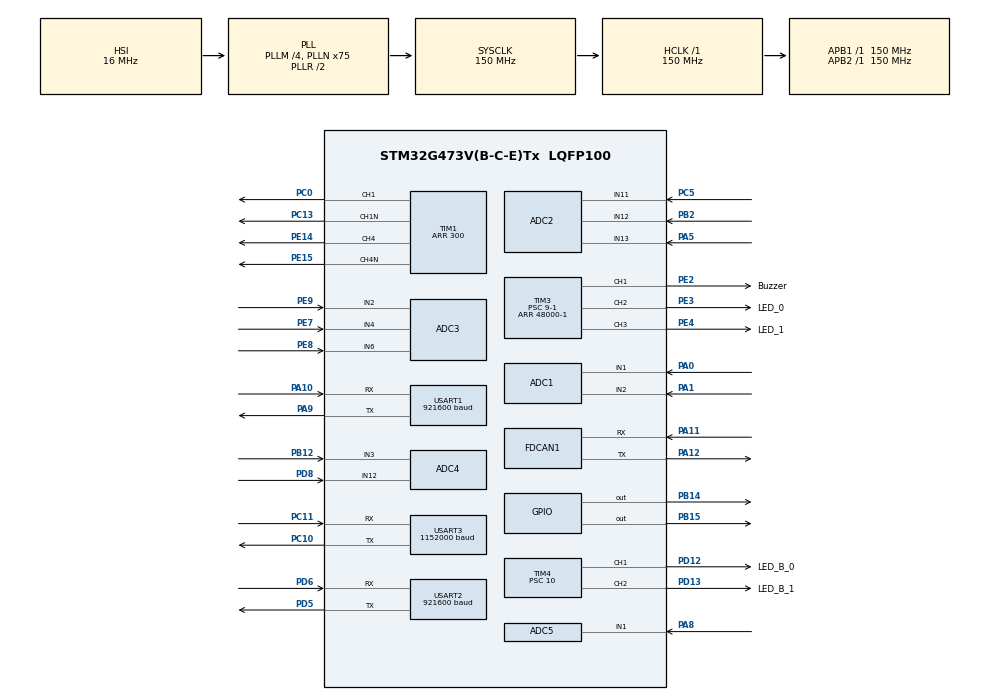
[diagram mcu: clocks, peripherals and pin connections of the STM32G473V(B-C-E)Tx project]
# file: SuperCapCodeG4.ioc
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ADC1.Channel-1\#ChannelRegularConversion=ADC_CHANNEL_1
ADC1.Channel-2\#ChannelRegularConversion=ADC_CHANNEL_2
ADC1.ClockPrescaler=ADC_CLOCK_ASYNC_DIV4
ADC1.ContinuousConvMode=ENABLE
ADC1.DMAContinuousRequests=ENABLE
ADC1.EOCSelection=ADC_EOC_SINGLE_CONV
ADC1.NbrOfConversion=2
ADC1.NbrOfConversionFlag=1
ADC1.OffsetNumber-1\#ChannelRegularConversion=ADC_OFFSET_NONE
ADC1.OffsetNumber-2\#ChannelRegularConversion=ADC_OFFSET_NONE
ADC1.OversamplingMode=DISABLE
ADC1.Rank-1\#ChannelRegularConversion=1
ADC1.Rank-2\#ChannelRegularConversion=2
ADC1.SamplingTime-1\#ChannelRegularConversion=ADC_SAMPLETIME_12CYCLES_5
ADC1.SamplingTime-2\#ChannelRegularConversion=ADC_SAMPLETIME_12CYCLES_5
ADC1.master=1
ADC2.Channel-0\#ChannelRegularConversion=ADC_CHANNEL_11
ADC2.Channel-1\#ChannelRegularConversion=ADC_CHANNEL_13
ADC2.Channel-2\#ChannelRegularConversion=ADC_CHANNEL_12
ADC2.ClockPrescaler=ADC_CLOCK_ASYNC_DIV4
ADC2.ContinuousConvMode=ENABLE
ADC2.DMAContinuousRequests=ENABLE
ADC2.NbrOfConversion=3
ADC2.NbrOfConversionFlag=1
ADC2.OffsetNumber-0\#ChannelRegularConversion=ADC_OFFSET_NONE
ADC2.OffsetNumber-1\#ChannelRegularConversion=ADC_OFFSET_NONE
ADC2.OffsetNumber-2\#ChannelRegularConversion=ADC_OFFSET_NONE
ADC2.Rank-0\#ChannelRegularConversion=1
ADC2.Rank-1\#ChannelRegularConversion=2
ADC2.Rank-2\#ChannelRegularConversion=3
ADC2.SamplingTime-0\#ChannelRegularConversion=ADC_SAMPLETIME_12CYCLES_5
ADC2.SamplingTime-1\#ChannelRegularConversion=ADC_SAMPLETIME_12CYCLES_5
ADC2.SamplingTime-2\#ChannelRegularConversion=ADC_SAMPLETIME_12CYCLES_5
ADC3.Channel-0\#ChannelRegularConversion=ADC_CHANNEL_4
ADC3.Channel-1\#ChannelRegularConversion=ADC_CHANNEL_6
ADC3.Channel-2\#ChannelRegularConversion=ADC_CHANNEL_2
ADC3.ClockPrescaler=ADC_CLOCK_ASYNC_DIV4
ADC3.ContinuousConvMode=ENABLE
ADC3.DMAContinuousRequests=ENABLE
ADC3.NbrOfConversion=3
ADC3.NbrOfConversionFlag=1
ADC3.OffsetNumber-0\#ChannelRegularConversion=ADC_OFFSET_NONE
ADC3.OffsetNumber-1\#ChannelRegularConversion=ADC_OFFSET_NONE
ADC3.OffsetNumber-2\#ChannelRegularConversion=ADC_OFFSET_NONE
ADC3.Rank-0\#ChannelRegularConversion=1
ADC3.Rank-1\#ChannelRegularConversion=2
ADC3.Rank-2\#ChannelRegularConversion=3
ADC3.SamplingTime-0\#ChannelRegularConversion=ADC_SAMPLETIME_6CYCLES_5
ADC3.SamplingTime-1\#ChannelRegularConversion=ADC_SAMPLETIME_6CYCLES_5
ADC3.SamplingTime-2\#ChannelRegularConversion=ADC_SAMPLETIME_6CYCLES_5
ADC3.master=1
ADC4.Channel-0\#ChannelRegularConversion=ADC_CHANNEL_3
ADC4.Channel-1\#ChannelRegularConversion=ADC_CHANNEL_12
ADC4.ClockPrescaler=ADC_CLOCK_ASYNC_DIV4
ADC4.ContinuousConvMode=ENABLE
ADC4.DMAContinuousRequests=ENABLE
ADC4.NbrOfConversion=2
ADC4.NbrOfConversionFlag=1
ADC4.OffsetNumber-0\#ChannelRegularConversion=ADC_OFFSET_NONE
ADC4.OffsetNumber-1\#ChannelRegularConversion=ADC_OFFSET_NONE
ADC4.Rank-0\#ChannelRegularConversion=1
ADC4.Rank-1\#ChannelRegularConversion=2
ADC4.SamplingTime-0\#ChannelRegularConversion=ADC_SAMPLETIME_12CYCLES_5
ADC4.SamplingTime-1\#ChannelRegularConversion=ADC_SAMPLETIME_12CYCLES_5
ADC5.Channel-1\#ChannelRegularConversion=ADC_CHANNEL_1
ADC5.ClockPrescaler=ADC_CLOCK_ASYNC_DIV4
ADC5.NbrOfConversionFlag=1
ADC5.OffsetNumber-1\#ChannelRegularConversion=ADC_OFFSET_NONE
ADC5.Rank-1\#ChannelRegularConversion=1
ADC5.SamplingTime-1\#ChannelRegularConversion=ADC_SAMPLETIME_12CYCLES_5
Dma.ADC1.1.Direction=DMA_PERIPH_TO_MEMORY
Dma.ADC1.1.EventEnable=DISABLE
Dma.ADC1.1.Instance=DMA2_Channel1
Dma.ADC1.1.MemDataAlignment=DMA_MDATAALIGN_HALFWORD
Dma.ADC1.1.MemInc=DMA_MINC_ENABLE
Dma.ADC1.1.Mode=DMA_CIRCULAR
Dma.ADC1.1.PeriphDataAlignment=DMA_PDATAALIGN_HALFWORD
Dma.ADC1.1.PeriphInc=DMA_PINC_DISABLE
Dma.ADC1.1.Polarity=HAL_DMAMUX_REQ_GEN_RISING
Dma.ADC1.1.Priority=DMA_PRIORITY_LOW
Dma.ADC1.1.RequestNumber=1
Dma.ADC1.1.SignalID=NONE
Dma.ADC1.1.SyncEnable=DISABLE
Dma.ADC1.1.SyncPolarity=HAL_DMAMUX_SYNC_NO_EVENT
Dma.ADC1.1.SyncRequestNumber=1
Dma.ADC1.1.SyncSignalID=NONE
Dma.ADC2.0.Direction=DMA_PERIPH_TO_MEMORY
Dma.ADC2.0.EventEnable=DISABLE
Dma.ADC2.0.Instance=DMA1_Channel1
Dma.ADC2.0.MemDataAlignment=DMA_MDATAALIGN_HALFWORD
Dma.ADC2.0.MemInc=DMA_MINC_ENABLE
Dma.ADC2.0.Mode=DMA_CIRCULAR
Dma.ADC2.0.PeriphDataAlignment=DMA_PDATAALIGN_HALFWORD
Dma.ADC2.0.PeriphInc=DMA_PINC_DISABLE
Dma.ADC2.0.Polarity=HAL_DMAMUX_REQ_GEN_RISING
Dma.ADC2.0.Priority=DMA_PRIORITY_LOW
Dma.ADC2.0.RequestNumber=1
Dma.ADC2.0.SignalID=NONE
Dma.ADC2.0.SyncEnable=DISABLE
Dma.ADC2.0.SyncPolarity=HAL_DMAMUX_SYNC_NO_EVENT
Dma.ADC2.0.SyncRequestNumber=1
Dma.ADC2.0.SyncSignalID=NONE
Dma.ADC3.2.Direction=DMA_PERIPH_TO_MEMORY
Dma.ADC3.2.EventEnable=DISABLE
Dma.ADC3.2.Instance=DMA1_Channel2
Dma.ADC3.2.MemDataAlignment=DMA_MDATAALIGN_HALFWORD
Dma.ADC3.2.MemInc=DMA_MINC_ENABLE
Dma.ADC3.2.Mode=DMA_CIRCULAR
Dma.ADC3.2.PeriphDataAlignment=DMA_PDATAALIGN_HALFWORD
Dma.ADC3.2.PeriphInc=DMA_PINC_DISABLE
Dma.ADC3.2.Polarity=HAL_DMAMUX_REQ_GEN_RISING
Dma.ADC3.2.Priority=DMA_PRIORITY_LOW
Dma.ADC3.2.RequestNumber=1
Dma.ADC3.2.SignalID=NONE
Dma.ADC3.2.SyncEnable=DISABLE
Dma.ADC3.2.SyncPolarity=HAL_DMAMUX_SYNC_NO_EVENT
Dma.ADC3.2.SyncRequestNumber=1
Dma.ADC3.2.SyncSignalID=NONE
Dma.ADC4.3.Direction=DMA_PERIPH_TO_MEMORY
Dma.ADC4.3.EventEnable=DISABLE
Dma.ADC4.3.Instance=DMA1_Channel3
Dma.ADC4.3.MemDataAlignment=DMA_MDATAALIGN_HALFWORD
Dma.ADC4.3.MemInc=DMA_MINC_ENABLE
Dma.ADC4.3.Mode=DMA_CIRCULAR
Dma.ADC4.3.PeriphDataAlignment=DMA_PDATAALIGN_HALFWORD
Dma.ADC4.3.PeriphInc=DMA_PINC_DISABLE
Dma.ADC4.3.Polarity=HAL_DMAMUX_REQ_GEN_RISING
Dma.ADC4.3.Priority=DMA_PRIORITY_LOW
Dma.ADC4.3.RequestNumber=1
Dma.ADC4.3.SignalID=NONE
Dma.ADC4.3.SyncEnable=DISABLE
Dma.ADC4.3.SyncPolarity=HAL_DMAMUX_SYNC_NO_EVENT
Dma.ADC4.3.SyncRequestNumber=1
Dma.ADC4.3.SyncSignalID=NONE
Dma.Request0=ADC2
Dma.Request1=ADC1
Dma.Request2=ADC3
Dma.Request3=ADC4
FDCAN1.CalculateBaudRateNominal=1000000
FDCAN1.CalculateTimeBitNominal=1000
FDCAN1.CalculateTimeQuantumNominal=100.0
FDCAN1.ClockDivider=FDCAN_CLOCK_DIV1
FDCAN1.NominalPrescaler=15
FDCAN1.NominalTimeSeg1=5
FDCAN1.NominalTimeSeg2=4
Mcu.Family=STM32G4
Mcu.Name=STM32G473V(B-C-E)Tx
Mcu.Package=LQFP100
NVIC.PriorityGroup=NVIC_PRIORITYGROUP_4
NVIC.TIM2_IRQn=true\:0\:0\:false\:false\:true\:true\:true\:true
NVIC.TIM5_IRQn=true\:0\:0\:false\:false\:true\:true\:true\:true
PA0.Mode=IN1-Single-Ended
PA0.Signal=ADC1_IN1
PA1.Mode=IN2-Single-Ended
PA1.Signal=ADC1_IN2
PA10.Mode=Asynchronous
PA10.Signal=USART1_RX
PA11.Mode=FDCAN_Activate
PA11.Signal=FDCAN1_RX
PA12.Mode=FDCAN_Activate
PA12.Signal=FDCAN1_TX
PA13.Mode=Serial_Wire
PA13.Signal=SYS_JTMS-SWDIO
PA14.Mode=Serial_Wire
PA14.Signal=SYS_JTCK-SWCLK
PA5.Mode=IN13-Single-Ended
PA5.Signal=ADC2_IN13
PA8.Mode=IN1-Single-Ended
PA8.Signal=ADC5_IN1
PA9.Mode=Asynchronous
PA9.Signal=USART1_TX
PB12.Mode=IN3-Single-Ended
PB12.Signal=ADC4_IN3
PB14.Signal=GPIO_Output
PB15.Signal=GPIO_Output
PB2.Mode=IN12-Single-Ended
PB2.Signal=ADC2_IN12
PC0.Signal=S_TIM1_CH1
PC10.Mode=Asynchronous
PC10.Signal=USART3_TX
PC11.Mode=Asynchronous
PC11.Signal=USART3_RX
PC13.Mode=PWM Generation1 CH1 CH1N
PC13.Signal=TIM1_CH1N
PC5.Mode=IN11-Single-Ended
PC5.Signal=ADC2_IN11
PD12.GPIO_Label=LED_B_0
PD12.Signal=S_TIM4_CH1
PD13.GPIO_Label=LED_B_1
PD13.Signal=S_TIM4_CH2
PD5.Mode=Asynchronous
PD5.Signal=USART2_TX
PD6.Mode=Asynchronous
PD6.Signal=USART2_RX
PD8.Mode=IN12-Single-Ended
PD8.Signal=ADC4_IN12
PE14.Signal=S_TIM1_CH4
PE15.Mode=PWM Generation4 CH4 CH4N
PE15.Signal=TIM1_CH4N
PE2.GPIO_Label=Buzzer
PE2.Signal=S_TIM3_CH1
PE3.GPIO_Label=LED_0
PE3.Signal=S_TIM3_CH2
PE4.GPIO_Label=LED_1
PE4.Signal=S_TIM3_CH3
PE7.Mode=IN4-Single-Ended
PE7.Signal=ADC3_IN4
PE8.Mode=IN6-Single-Ended
PE8.Signal=ADC3_IN6
PE9.Mode=IN2-Single-Ended
PE9.Signal=ADC3_IN2
PF0-OSC_IN.Mode=HSE-External-Oscillator
PF0-OSC_IN.Signal=RCC_OSC_IN
PF1-OSC_OUT.Mode=HSE-External-Oscillator
PF1-OSC_OUT.Signal=RCC_OSC_OUT
ProjectManager.HeapSize=0x200
ProjectManager.StackSize=0x400
ProjectManager.TargetToolchain=MDK-ARM V5.32
RCC.ADC12Freq_Value=150000000
RCC.ADC345Freq_Value=150000000
RCC.AHBFreq_Value=150000000
RCC.APB1Freq_Value=150000000
RCC.APB1TimFreq_Value=150000000
RCC.APB2Freq_Value=150000000
RCC.APB2TimFreq_Value=150000000
RCC.CortexFreq_Value=150000000
RCC.EXTERNAL_CLOCK_VALUE=12288000
RCC.HCLKFreq_Value=150000000
RCC.HSE_VALUE=48000000
RCC.HSI48_VALUE=48000000
RCC.HSI_VALUE=16000000
RCC.LSE_VALUE=32768
RCC.PLLM=RCC_PLLM_DIV4
RCC.PLLN=75
RCC.SYSCLKFreq_VALUE=150000000
RCC.SYSCLKSource=RCC_SYSCLKSOURCE_PLLCLK
RCC.USBFreq_Value=150000000
RCC.VCOOutputFreq_Value=300000000
SH.S_TIM1_CH1.0=TIM1_CH1,PWM Generation1 CH1 CH1N
SH.S_TIM1_CH4.0=TIM1_CH4,PWM Generation4 CH4 CH4N
SH.S_TIM3_CH1.0=TIM3_CH1,PWM Generation1 CH1
SH.S_TIM3_CH2.0=TIM3_CH2,PWM Generation2 CH2
SH.S_TIM3_CH3.0=TIM3_CH3,PWM Generation3 CH3
SH.S_TIM4_CH1.0=TIM4_CH1,PWM Generation1 CH1
SH.S_TIM4_CH2.0=TIM4_CH2,PWM Generation2 CH2
TIM1.Channel-PWM\ Generation1\ CH1\ CH1N=TIM_CHANNEL_1
TIM1.Channel-PWM\ Generation4\ CH4\ CH4N=TIM_CHANNEL_4
TIM1.DeadTime=19
TIM1.Dithering=Disable
TIM1.PeriodNoDither=300
TIM1.PulseNoDither_1=0
TIM1.PulseNoDither_4=300
TIM2.AutoReloadPreload=TIM_AUTORELOAD_PRELOAD_ENABLE
TIM2.Dithering=Disable
TIM2.PeriodNoDither=500
TIM2.Prescaler=0
TIM3.Channel-PWM\ Generation1\ CH1=TIM_CHANNEL_1
TIM3.Channel-PWM\ Generation2\ CH2=TIM_CHANNEL_2
TIM3.Channel-PWM\ Generation3\ CH3=TIM_CHANNEL_3
TIM3.PeriodNoDither=48000-1
TIM3.Prescaler=9-1
TIM3.PulseNoDither_2=90
TIM3.PulseNoDither_3=90
TIM4.Channel-PWM\ Generation1\ CH1=TIM_CHANNEL_1
TIM4.Channel-PWM\ Generation2\ CH2=TIM_CHANNEL_2
TIM4.PeriodNoDither=48000
TIM4.Prescaler=10
TIM4.PulseNoDither_1=90
TIM4.PulseNoDither_2=90
TIM5.AutoReloadPreload=TIM_AUTORELOAD_PRELOAD_ENABLE
TIM5.PeriodNoDither=1500
USART1.BaudRate=921600
USART1.VirtualMode-Asynchronous=VM_ASYNC
USART2.BaudRate=921600
USART2.VirtualMode-Asynchronous=VM_ASYNC
USART3.BaudRate=1152000
USART3.VirtualMode-Asynchronous=VM_ASYNC
VP_SYS_VS_DBSignals.Mode=DisableDeadBatterySignals
VP_TIM2_VS_ClockSourceINT.Mode=Internal
VP_TIM5_VS_ClockSourceINT.Mode=Internal
board=custom

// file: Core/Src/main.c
/* USER CODE BEGIN Header */
/**
  ******************************************************************************
  * @file           : main.c
  * @brief          : Main program body
  ******************************************************************************
  * @attention
  *
  * Copyright (c) 2024 STMicroelectronics.
  * All rights reserved.
  *
  * This software is licensed under terms that can be found in the LICENSE file
  * in the root directory of this software component.
  * If no LICENSE file comes with this software, it is provided AS-IS.
  *
  ******************************************************************************
  */
/* USER CODE END Header */
#include "main.h"
#include "adc.h"
#include "dma.h"
#include "fdcan.h"
#include "tim.h"
#include "usart.h"
#include "gpio.h"

/* USER CODE BEGIN Includes */
#include "supercap.h"
#include <stdio.h>
#include "Serial.h"
#include "Kalman_Filter.h"

#define MAX_CAP_VOLTAGE 2700 //24V in 12 bits
#define MAX_CURRENT 2202 //1A in 12 bits
#define MIN_CURRENT 2047 //0A in 12 bits
#define MAX_DUTY 278
#define MIN_DUTY 22
#define V_1V65 2047 //1.65V in 12 bits

/* USER CODE END Includes */

/* USER CODE BEGIN PV */
  uint16_t supercap_ADC1[2];
  uint16_t supercap_ADC2[3];
  uint16_t supercap_ADC3[3];
	uint16_t supercap_ADC4[2];

  _ADC_Sample_t C_left = {0};
  _ADC_Sample_t C_sys = {0};
  _ADC_Sample_t C_right = {0};
  _ADC_Sample_t V_sys_op = {0};
  _ADC_Sample_t V_cap_op = {0};
  _ADC_Sample_t V_cap = {0}; //V_right
  _ADC_Sample_t V_bat = {0}; //V_left
  _ADC_Sample_t V_sys = {0};

	_ADC_Sample_t V_1V6 = {0};
	_ADC_Sample_t ADC4_12 = {0};

	Kalman_Filter_t C_left_kalman = {.Q=0.5f,.R=1.0f};

  _Supercap_PID_Controller_t Out_loop_PID;
  _Supercap_PID_Controller_t In_loop_PID;

	float temp2;
	uint16_t temp_counter;

/* USER CODE END PV */

void SystemClock_Config(void);
/* USER CODE BEGIN PFP */
//void HAL_ADC_ConvCpltCallback(ADC_HandleTypeDef* hadc1)
//{
//  HAL_GPIO_TogglePin(GPIOB, GPIO_PIN_14);
//}
/* USER CODE END PFP */

int main(void)
{
  /* USER CODE BEGIN 1 */

  char tail[4] = {0x00, 0x00, 0x80, 0x7f};

  C_left.sample = &supercap_ADC1[0];
  C_sys.sample = &supercap_ADC1[1];
  C_right.sample = &supercap_ADC3[2];
  V_sys_op.sample = &supercap_ADC2[0];
  V_cap_op.sample = &supercap_ADC2[1];
  V_cap.sample = &supercap_ADC2[2];
  V_bat.sample = &supercap_ADC3[0];
  V_sys.sample = &supercap_ADC3[1];
	V_1V6.sample = &supercap_ADC4[0];
	ADC4_12.sample = &supercap_ADC4[1];

	float temp;
  /* USER CODE END 1 */

  /* MCU Configuration--------------------------------------------------------*/

  /* Reset of all peripherals, Initializes the Flash interface and the Systick. */
  HAL_Init();

  /* Configure the system clock */
  SystemClock_Config();

  /* Initialize all configured peripherals */
  MX_GPIO_Init();
  MX_DMA_Init();
  MX_ADC1_Init();
  MX_ADC2_Init();
  MX_TIM1_Init();
  MX_USART1_UART_Init();
  MX_USART2_UART_Init();
  MX_USART3_UART_Init();
  MX_TIM3_Init();
  MX_TIM4_Init();
  MX_ADC4_Init();
  MX_FDCAN1_Init();
  MX_ADC5_Init();
  MX_ADC3_Init();
  MX_TIM2_Init();
  MX_TIM5_Init();
  /* USER CODE BEGIN 2 */
	HAL_ADCEx_Calibration_Start(&hadc1, ADC_SINGLE_ENDED);
	HAL_ADCEx_Calibration_Start(&hadc2, ADC_SINGLE_ENDED);
	HAL_ADCEx_Calibration_Start(&hadc3, ADC_SINGLE_ENDED);
	HAL_ADCEx_Calibration_Start(&hadc4, ADC_SINGLE_ENDED);

  HAL_ADC_Start_DMA(&hadc1, (uint32_t*)supercap_ADC1, 2);
  HAL_ADC_Start_DMA(&hadc2, (uint32_t*)supercap_ADC2, 3);
  HAL_ADC_Start_DMA(&hadc3, (uint32_t*)supercap_ADC3, 3);
	HAL_ADC_Start_DMA(&hadc4, (uint32_t*)supercap_ADC4, 2);

	HAL_TIM_Base_Start(&htim1);
	HAL_TIM_PWM_Start(&htim1, TIM_CHANNEL_1);
  HAL_TIMEx_PWMN_Start(&htim1, TIM_CHANNEL_1);
  HAL_TIM_PWM_Start(&htim1, TIM_CHANNEL_4);
  HAL_TIMEx_PWMN_Start(&htim1, TIM_CHANNEL_4);

  HAL_TIM_PWM_Start(&htim3, TIM_CHANNEL_2);
	HAL_TIM_PWM_Start(&htim3, TIM_CHANNEL_3);

	HAL_TIM_PWM_Start(&htim4, TIM_CHANNEL_1);
	HAL_TIM_PWM_Start(&htim4, TIM_CHANNEL_2);

	Supercap_Soft_Start();

	HAL_TIM_Base_Start_IT(&htim2);
	HAL_TIM_Base_Start_IT(&htim5);

//  Supercap_PID_Init(&Out_loop_PID, 6.5f, 0.001f, 0.001f, 0, -MAX_CAP_VOLTAGE, 1500); //Out loop if control C_right
	Supercap_PID_Init(&Out_loop_PID, 5.5f, 0.01f, 0.1f, MAX_CAP_VOLTAGE, 0, 2500); //Out loop if control C_sys
  Supercap_PID_Init(&In_loop_PID, 0.0005f, 0.001f, 0.5f, MAX_DUTY, MIN_DUTY, 75);

  /* USER CODE END 2 */

  /* Infinite loop */
  while (1)
  {

    /* USER CODE BEGIN 3 */

    //sending set: all current in A and the 1.65V
    /*
		temp = Supercap_ADC_to_Current_Funtion(C_left.real_value_12bits,ADC4_12.real_value_12bits);
		HAL_UART_Transmit(&huart3, (uint8_t*)&(temp), 4, 1000);
		temp = -Supercap_ADC_to_Current_Funtion(C_right.real_value_12bits,ADC4_12.real_value_12bits);
		HAL_UART_Transmit(&huart3, (uint8_t*)&(temp), 4, 1000);
		temp = Supercap_ADC_to_Current_Funtion(C_sys.real_value_12bits,ADC4_12.real_value_12bits);
		HAL_UART_Transmit(&huart3, (uint8_t*)&(temp), 4, 1000);
		temp = Supercap_ADC_to_Voltage_Funtion_Ref(V_1V6.real_value_12bits);
		HAL_UART_Transmit(&huart3, (uint8_t*)&(temp), 4, 1000);
		temp = Supercap_ADC_to_Voltage_Funtion_Ref(ADC4_12.real_value_12bits);
		HAL_UART_Transmit(&huart3, (uint8_t*)&(temp), 4, 1000);*/

    //sending set: One side DCDC test bench
    //Current, voltage and duty cycle
		temp = -Supercap_ADC_to_Current_Funtion(C_right.real_value_12bits,ADC4_12.real_value_12bits);
		HAL_UART_Transmit(&huart3, (uint8_t*)&(temp), 4, 1000);
		temp = Supercap_ADC_to_Current_Funtion(C_sys.real_value_12bits,ADC4_12.real_value_12bits);
		HAL_UART_Transmit(&huart3, (uint8_t*)&(temp), 4, 1000);
		temp = Supercap_ADC_to_Voltage_Funtion(V_bat.real_value_12bits);
		HAL_UART_Transmit(&huart3, (uint8_t*)&(temp), 4, 1000);
		temp = Supercap_ADC_to_Voltage_Funtion(V_cap.real_value_12bits);
		HAL_UART_Transmit(&huart3, (uint8_t*)&(temp), 4, 1000);
		temp = In_loop_PID.output / 300.0f;
		HAL_UART_Transmit(&huart3, (uint8_t*)&(temp), 4, 1000);
		temp = Out_loop_PID.output;
		HAL_UART_Transmit(&huart3, (uint8_t*)&(temp), 4, 1000);

		HAL_UART_Transmit(&huart3, (uint8_t*)tail, 4, 1000);
  }
  /* USER CODE END 3 */
}

void SystemClock_Config(void)
{
  RCC_OscInitTypeDef RCC_OscInitStruct = {0};
  RCC_ClkInitTypeDef RCC_ClkInitStruct = {0};

  /** Configure the main internal regulator output voltage
  */
  HAL_PWREx_ControlVoltageScaling(PWR_REGULATOR_VOLTAGE_SCALE1);

  /** Initializes the RCC Oscillators according to the specified parameters
  * in the RCC_OscInitTypeDef structure.
  */
  RCC_OscInitStruct.OscillatorType = RCC_OSCILLATORTYPE_HSI;
  RCC_OscInitStruct.HSIState = RCC_HSI_ON;
  RCC_OscInitStruct.HSICalibrationValue = RCC_HSICALIBRATION_DEFAULT;
  RCC_OscInitStruct.PLL.PLLState = RCC_PLL_ON;
  RCC_OscInitStruct.PLL.PLLSource = RCC_PLLSOURCE_HSI;
  RCC_OscInitStruct.PLL.PLLM = RCC_PLLM_DIV4;
  RCC_OscInitStruct.PLL.PLLN = 75;
  RCC_OscInitStruct.PLL.PLLP = RCC_PLLP_DIV2;
  RCC_OscInitStruct.PLL.PLLQ = RCC_PLLQ_DIV2;
  RCC_OscInitStruct.PLL.PLLR = RCC_PLLR_DIV2;
  if (HAL_RCC_OscConfig(&RCC_OscInitStruct) != HAL_OK)
  {
    Error_Handler();
  }

  /** Initializes the CPU, AHB and APB buses clocks
  */
  RCC_ClkInitStruct.ClockType = RCC_CLOCKTYPE_HCLK|RCC_CLOCKTYPE_SYSCLK
                              |RCC_CLOCKTYPE_PCLK1|RCC_CLOCKTYPE_PCLK2;
  RCC_ClkInitStruct.SYSCLKSource = RCC_SYSCLKSOURCE_PLLCLK;
  RCC_ClkInitStruct.AHBCLKDivider = RCC_SYSCLK_DIV1;
  RCC_ClkInitStruct.APB1CLKDivider = RCC_HCLK_DIV1;
  RCC_ClkInitStruct.APB2CLKDivider = RCC_HCLK_DIV1;

  if (HAL_RCC_ClockConfig(&RCC_ClkInitStruct, FLASH_LATENCY_4) != HAL_OK)
  {
    Error_Handler();
  }
}

void Error_Handler(void)
{
  __disable_irq();
  while (1)
  {
  }
}
